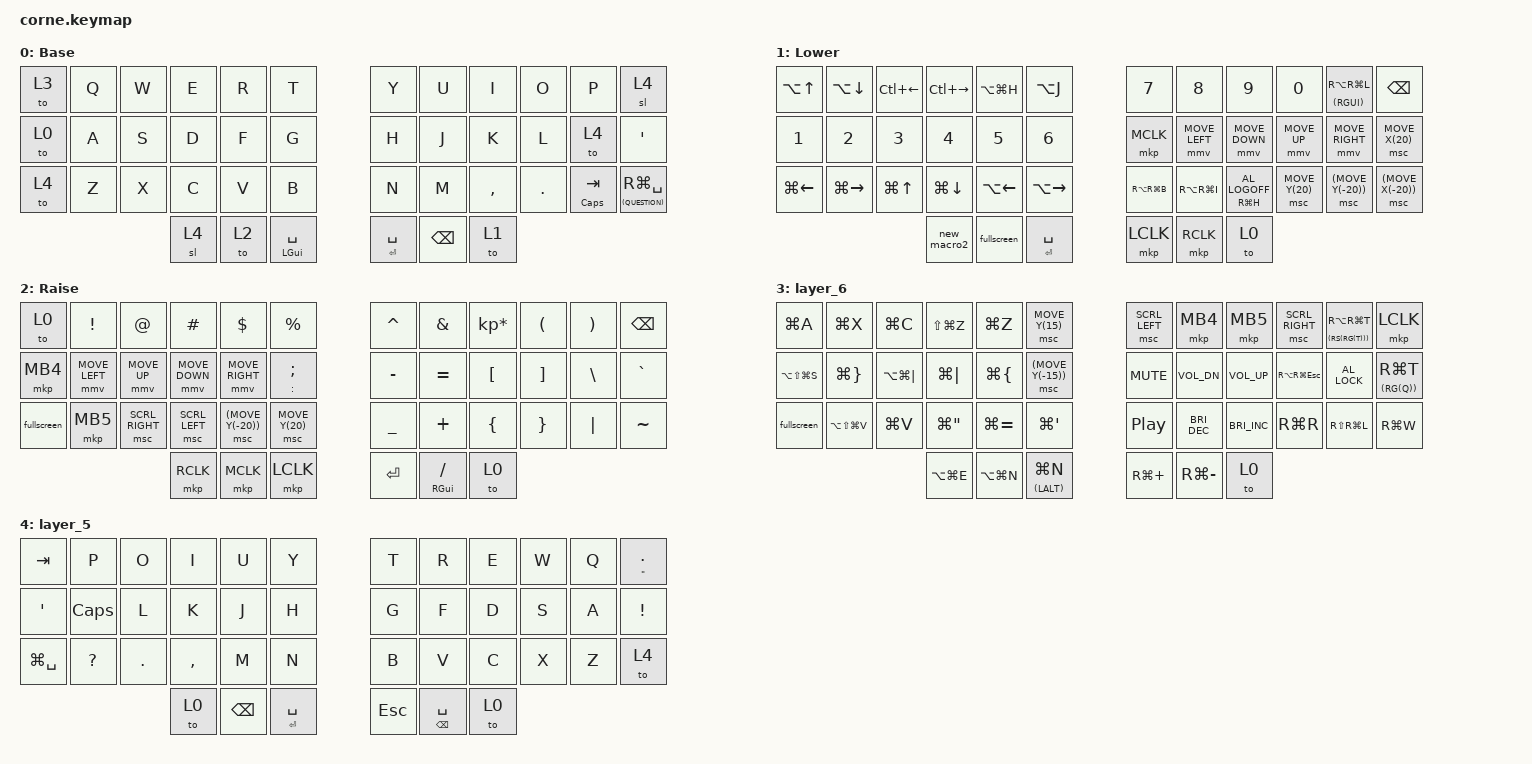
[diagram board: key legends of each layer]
/*
 * Copyright (c) 2020 The ZMK Contributors
 *
 * SPDX-License-Identifier: MIT
 */

#include <behaviors.dtsi>
#include <dt-bindings/zmk/keys.h>
#include <dt-bindings/zmk/pointing.h>

/ {
    combos {
        compatible = "zmk,combos";

        leftclick {
            bindings = <&mkp LCLK>;
            key-positions = <38 37>;
            layers = <0>;
            slow-release;
        };

        rightclick {
            bindings = <&mkp RCLK>;
            key-positions = <16 38>;
            layers = <0>;
            slow-release;
        };

        leftcontrol {
            bindings = <&kp RC(LEFT_ARROW)>;
            key-positions = <40 19>;
            layers = <0>;
            slow-release;
        };

        controlright {
            bindings = <&kp RC(RIGHT)>;
            key-positions = <20 40>;
        };

        MB4 {
            bindings = <&mkp MB4>;
            key-positions = <16 15>;
            layers = <2>;
            slow-release;
        };

        MB5 {
            bindings = <&mkp MB5>;
            key-positions = <16 3>;
            slow-release;
            layers = <2>;
        };

        MB4LW {
            bindings = <&mkp MB4>;
            key-positions = <19 20>;
            slow-release;
            layers = <1>;
        };

        MB5LW {
            bindings = <&mkp MB5>;
            key-positions = <19 8>;
            layers = <1>;
            slow-release;
        };
    };

    macros {
        new_macro2: new_macro {
            compatible = "zmk,behavior-macro";
            #binding-cells = <0>;
            bindings =
                <&macro_press>,
                <&kp GLOBE>,
                <&macro_tap>,
                <&kp C>,
                <&macro_release>,
                <&kp GLOBE>;

            label = "NEW_MACRO";
        };

        fullscreen: new_macro5 {
            compatible = "zmk,behavior-macro";
            #binding-cells = <0>;
            bindings =
                <&macro_press>,
                <&kp GLOBE>,
                <&macro_tap>,
                <&kp F>,
                <&macro_release>,
                <&kp GLOBE>;

            label = "NEW_MACRO5";
        };
    };

    keymap {
        compatible = "zmk,keymap";

        default_layer {
            // -----------------------------------------------------------------------------------------
            // |  TAB |  Q  |  W  |  E  |  R  |  T  |   |  Y  |  U   |  I  |  O  |  P  | BKSP |
            // | CTRL |  A  |  S  |  D  |  F  |  G  |   |  H  |  J   |  K  |  L  |  ;  |  '   |
            // | SHFT |  Z  |  X  |  C  |  V  |  B  |   |  N  |  M   |  ,  |  .  |  /  | ESC  |
            //                    | GUI | LWR | SPC |   | ENT | RSE  | ALT |

            display-name = "Base";
            bindings = <
&to 3  &kp Q  &kp W  &kp E  &kp R  &kp T             &kp Y            &kp U          &kp I      &kp O    &kp P         &sl 4
&to 0  &kp A  &kp S  &kp D  &kp F  &kp G             &kp H            &kp J          &kp K      &kp L    &to 4         &kp SQT
&to 4  &kp Z  &kp X  &kp C  &kp V  &kp B             &kp N            &kp M          &kp COMMA  &kp DOT  &mt CAPS TAB  &mt (QUESTION) RG(SPACE)
                     &sl 4  &to 2  &mt LGUI SPACE    &mt ENTER SPACE  &kp BACKSPACE  &to 1
            >;
        };

        lower_layer {
            // -----------------------------------------------------------------------------------------
            // |  TAB |  1  |  2  |  3  |  4  |  5  |   |  6  |  7  |  8  |  9  |  0  | BKSP |
            // | BTCLR| BT1 | BT2 | BT3 | BT4 | BT5 |   | LFT | DWN |  UP | RGT |     |      |
            // | SHFT |     |     |     |     |     |   |     |     |     |     |     |      |
            //                    | GUI |     | SPC |   | ENT |     | ALT |

            display-name = "Lower";
            bindings = <
&kp LA(UP_ARROW)  &kp LA(DOWN)   &kp LC(LEFT_ARROW)  &kp LC(RIGHT_ARROW)  &kp LA(LG(H))  &kp LA(J)          &kp N7         &kp N8          &kp N9                 &kp N0           &mt (RGUI) RA(RG(L))  &kp BSPC
&kp N1            &kp N2         &kp N3              &kp N4               &kp N5         &kp N6             &mkp MCLK      &mmv MOVE_LEFT  &mmv MOVE_DOWN         &mmv MOVE_UP     &mmv MOVE_RIGHT       &msc MOVE_X(20)
&kp LG(LEFT)      &kp LG(RIGHT)  &kp LG(UP_ARROW)    &kp LG(DOWN)         &kp LA(LEFT)   &kp LA(RIGHT)      &kp RA(RG(B))  &kp RA(RG(I))   &mt RG(H) C_AL_LOGOFF  &msc MOVE_Y(20)  &msc (MOVE_Y(-20))    &msc (MOVE_X(-20))
                                                     &new_macro2          &fullscreen    &mt ENTER SPACE    &mkp LCLK      &mkp RCLK       &to 0
            >;
        };

        raise_layer {
            // -----------------------------------------------------------------------------------------
            // |  TAB |  !  |  @  |  #  |  $  |  %  |   |  ^  |  &  |  *  |  (  |  )  | BKSP |
            // | CTRL |     |     |     |     |     |   |  -  |  =  |  [  |  ]  |  \  |  `   |
            // | SHFT |     |     |     |     |     |   |  _  |  +  |  {  |  }  | "|" |  ~   |
            //                    | GUI |     | SPC |   | ENT |     | ALT |

            display-name = "Raise";
            bindings = <
&to 0        &kp EXCL        &kp AT           &kp HASH        &kp DLLR            &kp PRCNT              &kp CARET  &kp AMPS        &kp KP_MULTIPLY  &kp LPAR  &kp RPAR  &kp BSPC
&mkp MB4     &mmv MOVE_LEFT  &mmv MOVE_UP     &mmv MOVE_DOWN  &mmv MOVE_RIGHT     &mt COLON SEMICOLON    &kp MINUS  &kp EQUAL       &kp LBKT         &kp RBKT  &kp BSLH  &kp GRAVE
&fullscreen  &mkp MB5        &msc SCRL_RIGHT  &msc SCRL_LEFT  &msc (MOVE_Y(-20))  &msc MOVE_Y(20)        &kp UNDER  &kp PLUS        &kp LBRC         &kp RBRC  &kp PIPE  &kp TILDE
                                              &mkp RCLK       &mkp MCLK           &mkp LCLK              &kp RET    &mt RGUI SLASH  &to 0
            >;
        };

        layer_6 {
            bindings = <
&kp LG(A)          &kp LG(X)            &kp LG(C)         &kp LS(LG(Z))          &kp LG(Z)           &msc MOVE_Y(15)         &msc SCRL_LEFT    &mkp MB4              &mkp MB5         &msc SCRL_RIGHT  &mt (RS(RG(T))) RA(RG(T))  &mkp LCLK
&kp LA(LS(LG(S)))  &kp LG(RIGHT_BRACE)  &kp LA(LG(PIPE))  &kp LG(PIPE)           &kp LG(LEFT_BRACE)  &msc (MOVE_Y(-15))      &kp C_MUTE        &kp C_VOL_DN          &kp C_VOLUME_UP  &kp RA(RG(ESC))  &kp C_AL_LOCK              &mt (RG(Q)) RG(T)
&fullscreen        &kp LA(LS(LG(V)))    &kp LG(V)         &kp LG(DOUBLE_QUOTES)  &kp LG(EQUAL)       &kp LG(SINGLE_QUOTE)    &kp C_PLAY_PAUSE  &kp C_BRIGHTNESS_DEC  &kp C_BRI_INC    &kp RG(R)        &kp RS(RG(L))              &kp RG(W)
                                                          &kp LA(LG(E))          &kp LA(LG(N))       &mt (LALT) LG(N)        &kp RG(PLUS)      &kp RG(MINUS)         &to 0
            >;
        };

        layer_5 {
            bindings = <
&kp TAB        &kp P         &kp O    &kp I      &kp U     &kp Y              &kp T    &kp R                &kp E  &kp W  &kp Q  &mt DOUBLE_QUOTES PERIOD
&kp APOS       &kp CLCK      &kp L    &kp K      &kp J     &kp H              &kp G    &kp F                &kp D  &kp S  &kp A  &kp EXCLAMATION
&kp LG(SPACE)  &kp QUESTION  &kp DOT  &kp COMMA  &kp M     &kp N              &kp B    &kp V                &kp C  &kp X  &kp Z  &to 4
                                      &to 0      &kp BSPC  &mt ENTER SPACE    &kp ESC  &mt BACKSPACE SPACE  &to 0
            >;
        };
    };
};
